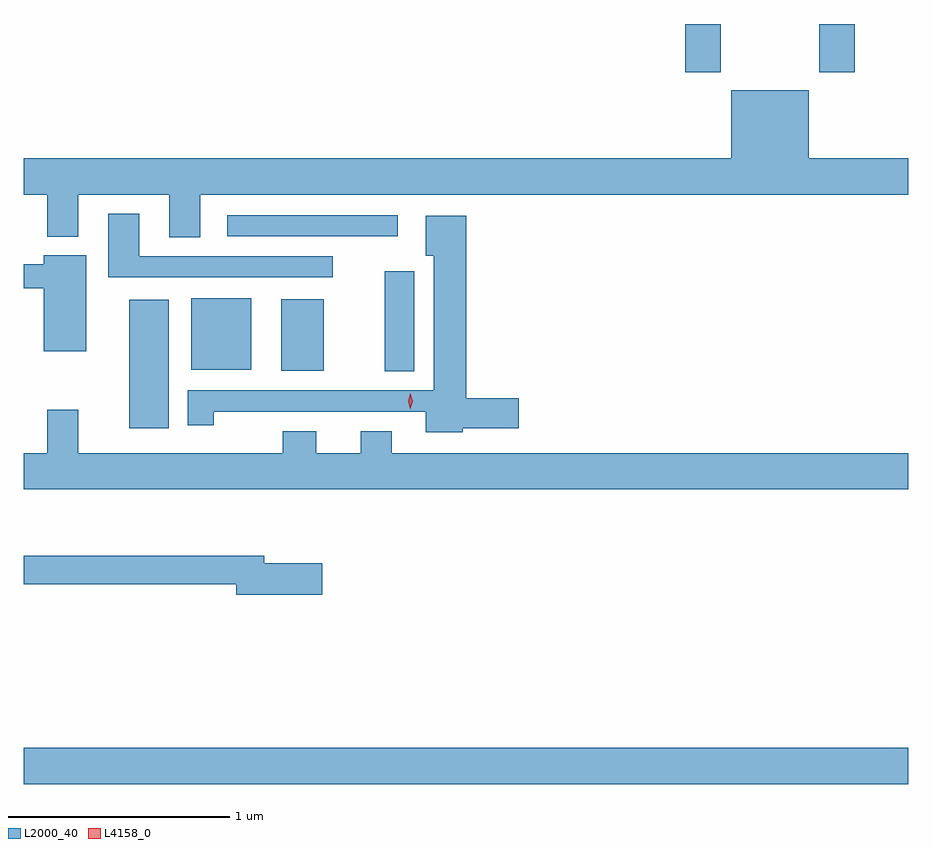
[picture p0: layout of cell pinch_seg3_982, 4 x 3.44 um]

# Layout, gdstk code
import gdstk
lib = gdstk.Library(unit=1e-6, precision=1e-09)
def R(c, l, rs):  # rectangles x0, y0, x1, y1
    for r in rs: c.add(gdstk.rectangle(r[:2], r[2:], *l))
def P(c, l, *ps):  # polygons
    for p in ps: c.add(gdstk.Polygon(p, *l))
L2000_40 = (2000, 40)
L4158_0 = (4158, 0)

pinch_seg3_982 = lib.new_cell('pinch_seg3_982')
R(pinch_seg3_982, L2000_40, [(500.935,718.232,504.935,718.396), (501.413,719.84,501.592,720.421), (502.568,720.097,502.702,720.55), (502.1,720.101,502.291,720.424), (501.692,720.104,501.964,720.427), (501.855,720.708,502.627,720.804), (503.927,721.449,504.087,721.668), (504.532,721.449,504.692,721.668)])
P(pinch_seg3_982, L2000_40, [(501.733,720.896),(504.935,720.896),(504.935,721.06),(504.484,721.06),(504.484,721.369),(504.134,721.369),(504.134,721.06),(500.935,721.06),(500.935,720.896),(501.041,720.896),(501.041,720.707),(501.181,720.707),(501.181,720.896),(501.593,720.896),(501.593,720.703),(501.733,720.703)],
  [(502.333,720.618),(501.457,720.618),(501.457,720.811),(501.317,720.811),(501.317,720.522),(502.333,720.522)],
  [(502.92,719.84),(503.173,719.84),(503.173,719.975),(502.937,719.975),(502.937,720.802),(502.754,720.802),(502.754,720.62),(502.79,720.62),(502.79,720.012),(501.677,720.012),(501.677,719.853),(501.795,719.853),(501.795,719.915),(502.022,719.915),(502.022,719.916),(502.754,719.916),(502.754,719.822),(502.92,719.822)],
  [(501.217,720.622),(501.026,720.622),(501.026,720.582),(500.935,720.582),(500.935,720.474),(501.026,720.474),(501.026,720.188),(501.217,720.188)],
  [(504.935,719.728),(502.6,719.728),(502.6,719.827),(502.46,719.827),(502.46,719.728),(502.258,719.728),(502.258,719.827),(502.106,719.827),(502.106,719.728),(501.181,719.728),(501.181,719.923),(501.041,719.923),(501.041,719.728),(500.935,719.728),(500.935,719.564),(504.935,719.564)],
  [(502.285,719.229),(502.024,719.229),(502.024,719.263),(500.935,719.263),(500.935,719.134),(501.896,719.134),(501.896,719.087),(502.285,719.087)])
P(pinch_seg3_982, L4158_0, [(502.684,719.927),(502.684,719.928),(502.674,719.963),(502.684,719.999),(502.684,719.999),(502.684,719.999),(502.694,719.963),(502.684,719.928)])

lib.write_gds('pinch_seg3_982.gds')
